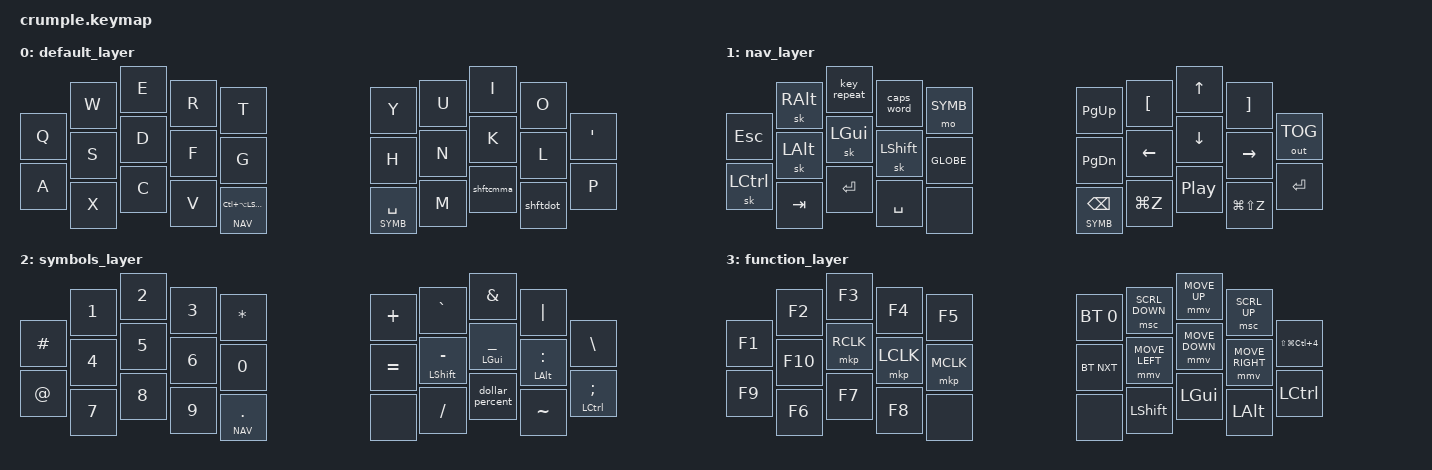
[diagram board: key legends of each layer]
/*
 * Copyright (c) 2020 The ZMK Contributors
 *
 * SPDX-License-Identifier: MIT
 */

#define ZMK_POINTING_DEFAULT_MOVE_VAL 1500
#define ZMK_POINTING_DEFAULT_SCRL_VAL 20

#include <behaviors.dtsi>
#include <dt-bindings/zmk/bt.h>
#include <dt-bindings/zmk/keys.h>
#include <dt-bindings/zmk/outputs.h>
#include <dt-bindings/zmk/pointing.h>

#define DEFAULT 0
#define NAV 1
#define SYMB 2
#define FUNC 3

&sk {
    release-after-ms = <500>;
    quick-release;
};

&lt {
    flavor = "balanced";
    tapping-term-ms = <150>;
    quick-tap-ms = <200>;
};

// &mmv {
// time-to-max-speed-ms = <300>;
// acceleration-exponent = <1>;
// };

/ {
    combos {
        compatible = "zmk,combos";

        z {
            timeout-ms = <40>;
            key-positions = <11 12>;
            bindings = <&kp Z>;
            layers = <DEFAULT>;
        };

        b {
            timeout-ms = <40>;
            key-positions = <12 13>;
            bindings = <&kp B>;
            layers = <DEFAULT>;
        };

        j {
            timeout-ms = <40>;
            key-positions = <16 17>;
            bindings = <&kp J>;
            layers = <DEFAULT>;
        };

        slash {
            timeout-ms = <40>;
            key-positions = <17 18>;
            bindings = <&kp FSLH>;
            layers = <DEFAULT>;
        };

        britup {
            timeout-ms = <50>;
            key-positions = <1 2 3>;
            bindings = <&kp C_BRI_UP>;
            layers = <DEFAULT>;
        };

        caps {
            timeout-ms = <50>;
            key-positions = <11 12 13>;
            bindings = <&kp CAPS>;
            layers = <DEFAULT>;
        };

        britdn {
            timeout-ms = <50>;
            key-positions = <20 21 22>;
            bindings = <&kp C_BRI_DN>;
            layers = <DEFAULT>;
        };

        volup {
            timeout-ms = <50>;
            key-positions = <6 7 8>;
            bindings = <&kp C_VOL_UP>;
            layers = <DEFAULT>;
        };

        volmt {
            timeout-ms = <50>;
            key-positions = <16 17 18>;
            bindings = <&kp C_MUTE>;
            layers = <DEFAULT>;
        };

        voldn {
            timeout-ms = <50>;
            key-positions = <25 26 27>;
            bindings = <&kp C_VOL_DN>;
            layers = <DEFAULT>;
        };

        bspc {
            timeout-ms = <50>;
            key-positions = <21 22>;
            bindings = <&kp BSPC>;
            layers = <NAV>;
        };

        home {
            timeout-ms = <50>;
            key-positions = <16 17>;
            bindings = <&kp HOME>;
            layers = <NAV>;
        };

        end {
            timeout-ms = <50>;
            key-positions = <17 18>;
            bindings = <&kp END>;
            layers = <NAV>;
        };

        prev {
            timeout-ms = <50>;
            key-positions = <25 26>;
            bindings = <&kp C_PREV>;
            layers = <NAV>;
        };

        next {
            timeout-ms = <50>;
            key-positions = <26 27>;
            bindings = <&kp C_NEXT>;
            layers = <NAV>;
        };

        lpar {
            timeout-ms = <50>;
            key-positions = <12 13>;
            bindings = <&kp LPAR>;
            layers = <SYMB>;
        };

        rpar {
            timeout-ms = <50>;
            key-positions = <16 17>;
            bindings = <&kp RPAR>;
            layers = <SYMB>;
        };

        lbkt {
            timeout-ms = <50>;
            key-positions = <11 12>;
            bindings = <&kp LBKT>;
            layers = <SYMB>;
        };

        rbkt {
            timeout-ms = <50>;
            key-positions = <17 18>;
            bindings = <&kp RBKT>;
            layers = <SYMB>;
        };

        lbrc {
            timeout-ms = <50>;
            key-positions = <2 3>;
            bindings = <&kp LBRC>;
            layers = <SYMB>;
        };

        rbrc {
            timeout-ms = <50>;
            key-positions = <6 7>;
            bindings = <&kp RBRC>;
            layers = <SYMB>;
        };

        lt {
            timeout-ms = <50>;
            key-positions = <1 2>;
            bindings = <&kp LT>;
            layers = <SYMB>;
        };

        gt {
            timeout-ms = <50>;
            key-positions = <7 8>;
            bindings = <&kp GT>;
            layers = <SYMB>;
        };

        btclr {
            timeout-ms = <50>;
            key-positions = <10 19>;
            bindings = <&bt BT_CLR>;
            layers = <FUNC>;
        };

        f11 {
            timeout-ms = <50>;
            key-positions = <20 21>;
            bindings = <&kp F11>;
            layers = <FUNC>;
        };

        f12 {
            timeout-ms = <50>;
            key-positions = <21 22>;
            bindings = <&kp F12>;
            layers = <FUNC>;
        };

        bt0 {
            timeout-ms = <50>;
            key-positions = <11 12>;
            bindings = <&bt BT_SEL 0>;
            layers = <FUNC>;
        };

        btnxt {
            timeout-ms = <50>;
            key-positions = <12 13>;
            bindings = <&bt BT_NXT>;
            layers = <FUNC>;
        };

        boot {
            timeout-ms = <50>;
            key-positions = <11 12 13>;
            bindings = <&bootloader>;
            layers = <FUNC>;
        };

        scrl_left {
            timeout-ms = <50>;
            key-positions = <7 8>;
            bindings = <&msc SCRL_LEFT>;
            layers = <FUNC>;
        };

        scrl_right {
            timeout-ms = <50>;
            key-positions = <6 7>;
            bindings = <&msc SCRL_RIGHT>;
            layers = <FUNC>;
        };
    };

    behaviors {
        lm: layer_mod {
            compatible = "zmk,behavior-hold-tap";
            #binding-cells = <2>;
            flavor = "hold-preferred";
            tapping-term-ms = <150>;
            quick-tap-ms = <200>;
            bindings = <&mo>, <&sk>;
        };

        smt: sticky_mod_tap {
            compatible = "zmk,behavior-hold-tap";
            #binding-cells = <2>;
            flavor = "balanced";
            tapping-term-ms = <150>;
            quick-tap-ms = <200>;
            bindings = <&sk>, <&kp>;
        };

        shftcmma: shift_comma {
            compatible = "zmk,behavior-mod-morph";
            #binding-cells = <0>;
            bindings = <&kp CMMA>, <&kp QMARK>;

            mods = <(MOD_LSFT)>;
        };

        shftdot: shift_dot {
            compatible = "zmk,behavior-mod-morph";
            #binding-cells = <0>;
            bindings = <&kp DOT>, <&kp BANG>;

            mods = <(MOD_LSFT)>;
        };

        shft1: shift_1 {
            compatible = "zmk,behavior-mod-morph";
            #binding-cells = <0>;
            bindings = <&kp N1>, <&kp COMMA>;

            mods = <(MOD_LSFT)>;
        };

        dollar_percent: dollar_percent {
            compatible = "zmk,behavior-tap-dance";
            label = "DOLLAR_PERCENT";
            #binding-cells = <0>;
            bindings = <&kp DOLLAR>, <&kp PERCENT>;
        };

        conditional_layers {
            compatible = "zmk,conditional-layers";

            tri_layer {
                if-layers = <NAV SYMB>;
                then-layer = <FUNC>;
            };
        };
    };

    keymap {
        compatible = "zmk,keymap";

        default_layer {
            bindings = <
&kp Q  &kp W  &kp E  &kp R  &kp T                  &kp Y           &kp U  &kp I      &kp O     &kp APOS
&kp A  &kp S  &kp D  &kp F  &kp G                  &kp H           &kp N  &kp K      &kp L     &kp P
       &kp X  &kp C  &kp V  &lm NAV LC(LA(LSHFT))  &lt SYMB SPACE  &kp M  &shftcmma  &shftdot
            >;
        };

        nav_layer {
            bindings = <
&kp ESC    &sk RALT  &key_repeat  &caps_word  &mo SYMB   &kp PG_UP      &kp LBKT   &kp UP    &kp RBKT       &out OUT_TOG
&sk LCTRL  &sk LALT  &sk LGUI     &sk LSHFT   &kp GLOBE  &kp PG_DN      &kp LEFT   &kp DOWN  &kp RIGHT      &kp ENTER
           &kp TAB   &kp ENTER    &kp SPACE   &none      &lt SYMB BSPC  &kp LG(Z)  &kp C_PP  &kp LG(LS(Z))
            >;
        };

        symbols_layer {
            bindings = <
&kp HASH  &kp N1  &kp N2  &kp N3  &kp STAR        &kp PLUS   &kp GRAVE         &kp AMPS         &kp PIPE         &kp BSLH
&kp AT    &kp N4  &kp N5  &kp N6  &kp N0          &kp EQUAL  &smt LSHFT MINUS  &smt LGUI UNDER  &smt LALT COLON  &smt LCTRL SEMI
          &kp N7  &kp N8  &kp N9  &lt NAV PERIOD  &none      &kp FSLH          &dollar_percent  &kp TILDE
            >;
        };

        function_layer {
            bindings = <
&kp F1  &kp F2   &kp F3     &kp F4     &kp F5     &bt BT_SEL 0  &msc SCRL_DOWN  &mmv MOVE_UP    &msc SCRL_UP     &kp LS(LG(LC(N4)))
&kp F9  &kp F10  &mkp RCLK  &mkp LCLK  &mkp MCLK  &bt BT_NXT    &mmv MOVE_LEFT  &mmv MOVE_DOWN  &mmv MOVE_RIGHT  &kp LCTRL
        &kp F6   &kp F7     &kp F8     &none      &none         &kp LSHFT       &kp LGUI        &kp LALT
            >;
        };
    };
};
